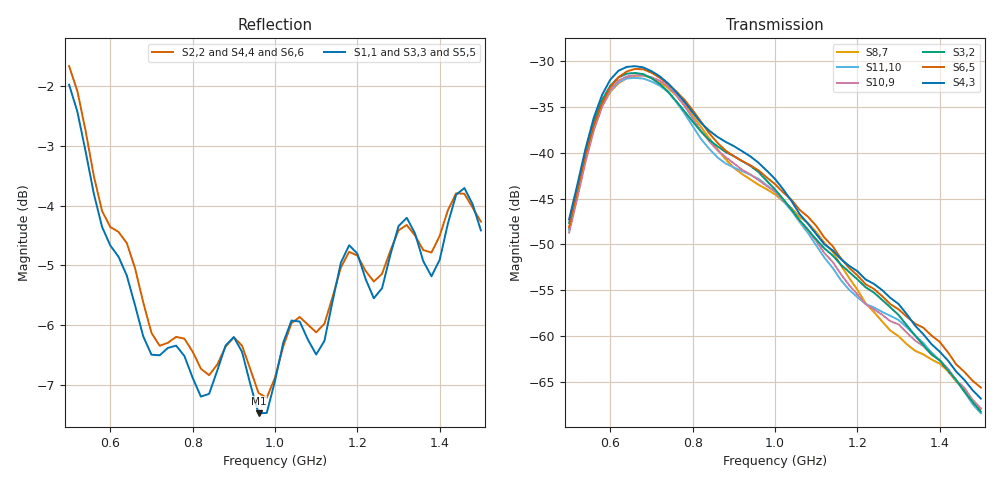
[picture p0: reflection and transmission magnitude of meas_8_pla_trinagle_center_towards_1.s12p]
! Converted from meas_8_pla_trinagle_center_towards_1.mat
! MATLAB 5.0 MAT-file, Platform: PCWIN64, Created on: Sat Nov 21 15:12:15 2026
! Ports 1-12 = antennas 1-12; IFBW=1000 Hz, power=0 dBm, doCalibration flag=1
! SW_A serial 12410080206: antennas 1 3 5 7 9 11
! SW_B serial 12410080235: antennas 2 4 6 8 10 12
! WARNING: Sij (i!=j) between two odd or two even ports was NOT MEASURED (NaN in source).
! Those entries are written as 0 0 placeholders. Do not treat them as data.
! Reference impedance 50 ohm is assumed (not stored in source).
# Hz S RI R 50
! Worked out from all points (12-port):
!   51 points, 500 MHz to 1.5 GHz, reference 50 ohm
!   strongest paths, dB at 500 MHz, 740 MHz, 1 GHz, 1.26 GHz, 1.5 GHz:
!     S4,3: -47.3, -32.4, -42.8, -55.0, -66.9
!     S6,5: -48.1, -32.5, -43.4, -55.7, -65.7
!     S3,2: -47.6, -33.3, -44.0, -56.1, -68.3
!     S10,9: -48.7, -32.7, -44.2, -57.7, -67.9
!     S11,10: -48.5, -33.3, -44.2, -57.4, -68.5
!     S8,7: -48.3, -32.9, -44.5, -58.4, -68.0
!   lowest |S11| = -7.5 dB at 960 MHz (marker M1), VSWR 2.46, Z = 24.3 - j20 ohm
!   |S11| at or under -10 dB: nowhere
